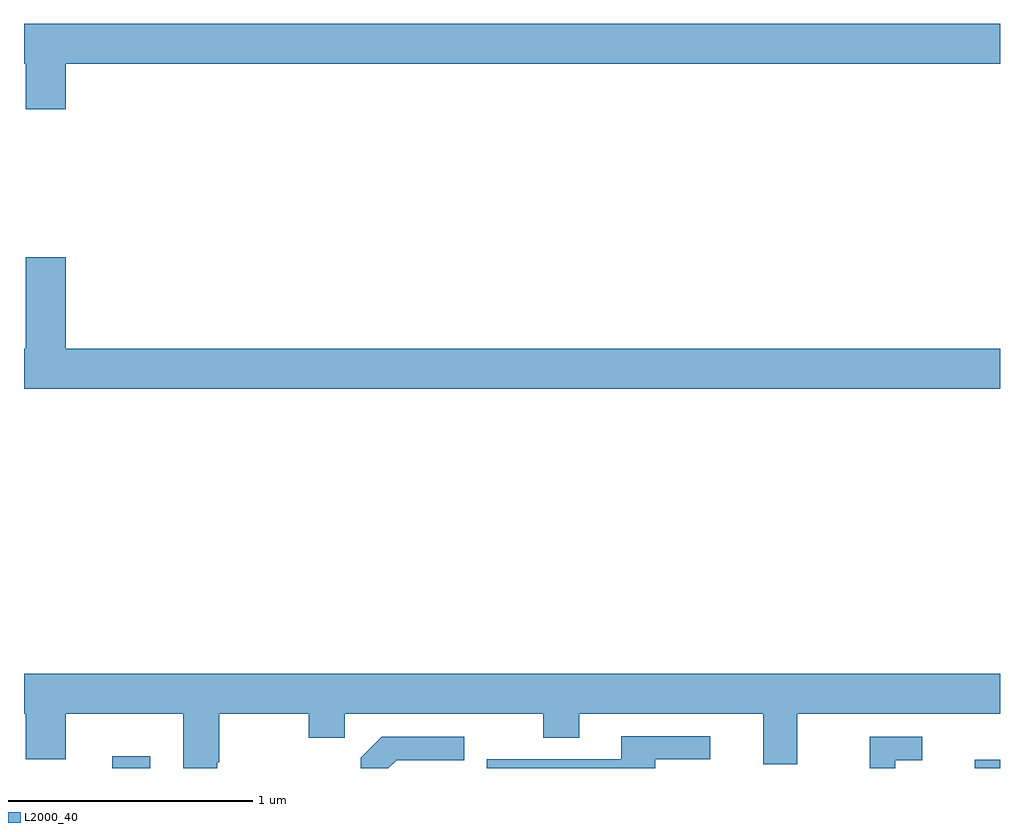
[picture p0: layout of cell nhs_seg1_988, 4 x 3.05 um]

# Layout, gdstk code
import gdstk
lib = gdstk.Library(unit=1e-6, precision=1e-09)
def R(c, l, rs):  # rectangles x0, y0, x1, y1
    for r in rs: c.add(gdstk.rectangle(r[:2], r[2:], *l))
def P(c, l, *ps):  # polygons
    for p in ps: c.add(gdstk.Polygon(p, *l))
L2000_40 = (2000, 40)

nhs_seg1_988 = lib.new_cell('nhs_seg1_988')
R(nhs_seg1_988, L2000_40, [(165.362,526.199,165.517,526.249), (168.896,526.199,169,526.234)])
P(nhs_seg1_988, L2000_40, [(165.172,529.088),(169,529.088),(169,529.252),(165,529.252),(165,529.088),(165.008,529.088),(165.008,528.9),(165.172,528.9)],
  [(169,527.92),(165.172,527.92),(165.172,528.295),(165.008,528.295),(165.008,527.92),(165,527.92),(165,527.756),(169,527.756)],
  [(165,526.424),(165.008,526.424),(165.008,526.236),(165.172,526.236),(165.172,526.424),(165.653,526.424),(165.653,526.199),(165.793,526.199),(165.793,526.225),(165.801,526.225),(165.801,526.424),(166.168,526.424),(166.168,526.325),(166.314,526.325),(166.314,526.424),(167.128,526.424),(167.128,526.325),(167.275,526.325),(167.275,526.424),(168.029,526.424),(168.029,526.216),(168.169,526.216),(168.169,526.424),(169,526.424),(169,526.588),(165,526.588)],
  [(167.587,526.236),(167.812,526.236),(167.812,526.332),(167.447,526.332),(167.447,526.236),(166.896,526.236),(166.896,526.199),(167.587,526.199)],
  [(166.527,526.233),(166.804,526.233),(166.804,526.329),(166.467,526.329),(166.38,526.242),(166.38,526.199),(166.493,526.199)],
  [(168.571,526.233),(168.682,526.233),(168.682,526.329),(168.467,526.329),(168.467,526.199),(168.571,526.199)])

lib.write_gds('nhs_seg1_988.gds')
